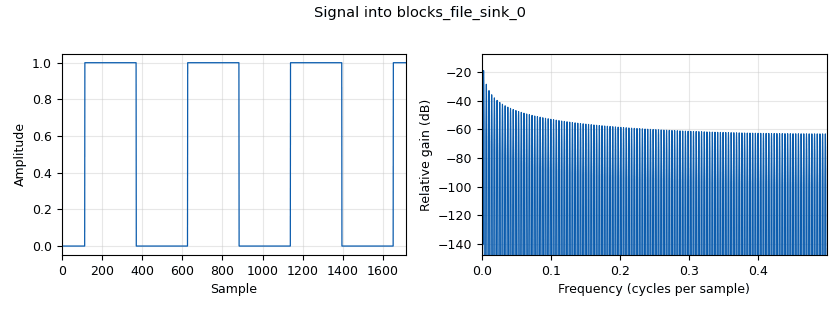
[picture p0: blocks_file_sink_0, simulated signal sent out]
<?xml version='1.0' encoding='utf-8'?>
<flow_graph>
<block>
<key>blocks_file_sink</key>
<param><key>id</key><value>blocks_file_sink_0</value></param>
<param><key>file</key><value>/tmp/bbb</value></param>
<param><key>type</key><value>float</value></param>
</block>
<block>
<key>variable</key>
<param><key>id</key><value>samp_rate</value></param>
<param><key>value</key><value>8832000</value></param>
</block>
<block>
<key>analog_sig_source_x</key>
<param><key>id</key><value>analog_sig_source_x_0</value></param>
<param><key>type</key><value>float</value></param>
<param><key>samp_rate</key><value>samp_rate</value></param>
<param><key>waveform</key><value>analog.GR_SQR_WAVE</value></param>
<param><key>freq</key><value>17250</value></param>
<param><key>amp</key><value>1</value></param>
<param><key>offset</key><value>0</value></param>
</block>
<block>
<key>blocks_throttle</key>
<param><key>id</key><value>blocks_throttle_0</value></param>
<param><key>type</key><value>float</value></param>
<param><key>samples_per_second</key><value>samp_rate</value></param>
</block>
<block>
<key>options</key>
<param><key>id</key><value>sim</value></param>
<param><key>author</key><value>Yann Diorcet</value></param>
<param><key>generate_options</key><value>wx_gui</value></param>
<param><key>category</key><value>Custom</value></param>
</block>
<connection><source_block_id>analog_sig_source_x_0</source_block_id><sink_block_id>blocks_throttle_0</sink_block_id><source_key>0</source_key><sink_key>0</sink_key></connection>
<connection><source_block_id>blocks_throttle_0</source_block_id><sink_block_id>blocks_file_sink_0</sink_block_id><source_key>0</source_key><sink_key>0</sink_key></connection>
</flow_graph>
